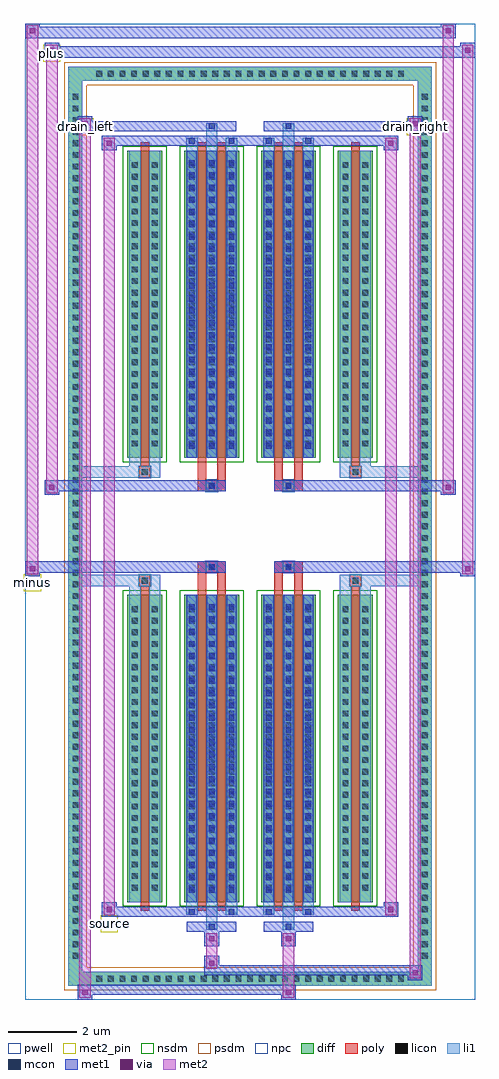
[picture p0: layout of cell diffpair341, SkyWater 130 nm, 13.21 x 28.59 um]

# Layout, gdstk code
import gdstk
lib = gdstk.Library(unit=1e-6, precision=5e-09)
def R(c, l, rs):  # rectangles x0, y0, x1, y1
    for r in rs: c.add(gdstk.rectangle(r[:2], r[2:], *l))
def A(c, l, x, y, w, h, nx, ny, dx, dy):  # array of equal rectangles
    R(c, l, [(x+i*dx, y+j*dy, x+i*dx+w, y+j*dy+h) for i in range(nx) for j in range(ny)])
def P(c, l, *ps):  # polygons
    for p in ps: c.add(gdstk.Polygon(p, *l))
pwell = (64, 44)
diff = (65, 20)
poly = (66, 20)
licon = (66, 44)
li1 = (67, 20)
mcon = (67, 44)
met1 = (68, 20)
via = (68, 44)
met2_pin = (69, 16)
met2 = (69, 20)
nsdm = (93, 44)
psdm = (94, 20)
npc = (95, 20)

diffpair341 = lib.new_cell('diffpair341')
R(diffpair341, pwell, [(-6.59,-13.86,6.59,14.73), (-3.91,-12.05,-0.01,-0.825), (0.01,-12.05,3.91,-0.825), (-3.91,0.825,-0.01,12.05), (0.01,0.825,3.91,12.05)])
A(diffpair341, diff, -4.625, -13.46, 0.41, 0.41, 27, 2, 0.34, 26.51)
A(diffpair341, diff, -5.32, -12.785, 0.41, 0.41, 1, 75, 0, 0.34)
A(diffpair341, diff, 4.91, -12.785, 0.41, 0.41, 1, 75, 0, 0.34)
R(diffpair341, diff, [(-4.625,-13.46,4.625,-13.05), (-5.32,-12.785,-4.91,12.785), (4.91,-12.785,5.32,12.785), (-3.6,-11.005,-2.57,-2.005), (-1.93,-11.005,-0.32,-2.005), (0.32,-11.005,1.93,-2.005), (2.57,-11.005,3.6,-2.005), (-3.6,2.005,-2.57,11.005), (-1.93,2.005,-0.32,11.005), (0.32,2.005,1.93,11.005), (2.57,2.005,3.6,11.005), (-4.625,13.05,4.625,13.46)])
P(diffpair341, diff, [(5.32,13.46),(-5.32,13.46),(-5.32,-13.05),(-4.91,-13.05),(-4.91,13.05),(4.91,13.05),(4.91,-13.05),(-4.91,-13.05),(-5.32,-13.05),(-5.32,-13.46),(5.32,-13.46)])
R(diffpair341, poly, [(-3.21,-11.255,-2.96,-1.755), (-1.54,-11.255,-1.29,-1.755), (-0.96,-11.255,-0.71,-1.755), (0.71,-11.255,0.96,-1.755), (1.29,-11.255,1.54,-1.755), (2.96,-11.255,3.21,-1.755), (-3.25,-1.755,-2.92,-1.425), (-3.25,-1.755,-2.92,-1.425), (-1.54,-1.755,-1.29,-1.355), (-0.96,-1.755,-0.71,-1.355), (0.71,-1.755,0.96,-1.355), (1.29,-1.755,1.54,-1.355), (2.92,-1.755,3.25,-1.425), (2.92,-1.755,3.25,-1.425), (-1.54,-1.355,-0.71,-1.025), (-1.29,-1.355,-0.96,-1.025), (0.71,-1.355,1.54,-1.025), (0.96,-1.355,1.29,-1.025), (-1.54,1.025,-0.71,1.355), (-1.29,1.025,-0.96,1.355), (0.71,1.025,1.54,1.355), (0.96,1.025,1.29,1.355), (-1.54,1.355,-1.29,1.755), (-0.96,1.355,-0.71,1.755), (0.71,1.355,0.96,1.755), (1.29,1.355,1.54,1.755), (-3.25,1.425,-2.92,1.755), (-3.25,1.425,-2.92,1.755), (2.92,1.425,3.25,1.755), (2.92,1.425,3.25,1.755), (-3.21,1.755,-2.96,11.255), (-1.54,1.755,-1.29,11.255), (-0.96,1.755,-0.71,11.255), (0.71,1.755,0.96,11.255), (1.29,1.755,1.54,11.255), (2.96,1.755,3.21,11.255)])
A(diffpair341, licon, -4.505, -13.34, 0.17, 0.17, 27, 2, 0.34, 26.51)
A(diffpair341, licon, -5.2, -12.665, 0.17, 0.17, 1, 75, 0, 0.34)
A(diffpair341, licon, 5.03, -12.665, 0.17, 0.17, 1, 75, 0, 0.34)
A(diffpair341, licon, -3.46, -10.67, 0.17, 0.17, 1, 25, 0, 0.34)
A(diffpair341, licon, -2.88, -10.67, 0.17, 0.17, 1, 25, 0, 0.34)
A(diffpair341, licon, -1.79, -10.67, 0.17, 0.17, 3, 25, 0.58, 0.34)
A(diffpair341, licon, 0.46, -10.67, 0.17, 0.17, 3, 25, 0.58, 0.34)
A(diffpair341, licon, 2.71, -10.67, 0.17, 0.17, 1, 25, 0, 0.34)
A(diffpair341, licon, 3.29, -10.67, 0.17, 0.17, 1, 25, 0, 0.34)
A(diffpair341, licon, -3.46, 2.34, 0.17, 0.17, 1, 25, 0, 0.34)
A(diffpair341, licon, -2.88, 2.34, 0.17, 0.17, 1, 25, 0, 0.34)
A(diffpair341, licon, -1.79, 2.34, 0.17, 0.17, 3, 25, 0.58, 0.34)
A(diffpair341, licon, 0.46, 2.34, 0.17, 0.17, 3, 25, 0.58, 0.34)
A(diffpair341, licon, 2.71, 2.34, 0.17, 0.17, 1, 25, 0, 0.34)
A(diffpair341, licon, 3.29, 2.34, 0.17, 0.17, 1, 25, 0, 0.34)
R(diffpair341, licon, [(-3.17,-1.675,-3,-1.505), (3,-1.675,3.17,-1.505), (-1.21,-1.275,-1.04,-1.105), (1.04,-1.275,1.21,-1.105), (-1.21,1.105,-1.04,1.275), (1.04,1.105,1.21,1.275), (-3.17,1.505,-3,1.675), (3,1.505,3.17,1.675)])
A(diffpair341, li1, -4.585, -13.42, 0.33, 0.33, 27, 2, 0.34, 26.51)
A(diffpair341, li1, -5.28, -12.745, 0.33, 0.33, 1, 75, 0, 0.34)
A(diffpair341, li1, 4.95, -12.745, 0.33, 0.33, 1, 75, 0, 0.34)
A(diffpair341, li1, -1.87, -11.005, 0.33, 9, 3, 2, 0.58, 13.01)
A(diffpair341, li1, 0.38, -11.005, 0.33, 9, 3, 2, 0.58, 13.01)
A(diffpair341, li1, -3.54, -10.75, 0.33, 0.33, 1, 25, 0, 0.34)
A(diffpair341, li1, -2.96, -10.75, 0.33, 0.33, 1, 25, 0, 0.34)
A(diffpair341, li1, -1.87, -10.75, 0.33, 0.33, 3, 25, 0.58, 0.34)
A(diffpair341, li1, 0.38, -10.75, 0.33, 0.33, 3, 25, 0.58, 0.34)
A(diffpair341, li1, 2.63, -10.75, 0.33, 0.33, 1, 25, 0, 0.34)
A(diffpair341, li1, 3.21, -10.75, 0.33, 0.33, 1, 25, 0, 0.34)
A(diffpair341, li1, -1.79, -10.73, 0.17, 0.17, 3, 24, 0.58, 0.36)
A(diffpair341, li1, -1.79, -10.73, 0.17, 8.45, 3, 2, 0.58, 13.01)
A(diffpair341, li1, 0.46, -10.73, 0.17, 0.17, 3, 24, 0.58, 0.36)
A(diffpair341, li1, 0.46, -10.73, 0.17, 8.45, 3, 2, 0.58, 13.01)
A(diffpair341, li1, -3.54, 2.26, 0.33, 0.33, 1, 25, 0, 0.34)
A(diffpair341, li1, -2.96, 2.26, 0.33, 0.33, 1, 25, 0, 0.34)
A(diffpair341, li1, -1.87, 2.26, 0.33, 0.33, 3, 25, 0.58, 0.34)
A(diffpair341, li1, 0.38, 2.26, 0.33, 0.33, 3, 25, 0.58, 0.34)
A(diffpair341, li1, 2.63, 2.26, 0.33, 0.33, 1, 25, 0, 0.34)
A(diffpair341, li1, 3.21, 2.26, 0.33, 0.33, 1, 25, 0, 0.34)
A(diffpair341, li1, -1.79, 2.28, 0.17, 0.17, 3, 24, 0.58, 0.36)
A(diffpair341, li1, 0.46, 2.28, 0.17, 0.17, 3, 24, 0.58, 0.36)
R(diffpair341, li1, [(-5.32,-13.46,-4.91,-13.05), (-5.32,-13.46,-4.91,-13.05), (-4.91,-13.46,4.91,-13.05), (4.91,-13.46,5.32,-13.05), (4.91,-13.46,5.32,-13.05), (-5.32,-13.05,-4.91,13.05), (4.91,-13.05,5.32,13.05), (-1.29,-11.81,-0.96,-11.005), (-1.21,-11.81,-1.04,-11.64), (0.96,-11.81,1.29,-11.005), (1.04,-11.81,1.21,-11.64), (-1.87,-11.38,-1.54,-11.005), (-1.79,-11.38,-1.62,-11.21), (-0.71,-11.38,-0.38,-11.005), (-0.63,-11.38,-0.46,-11.21), (0.38,-11.38,0.71,-11.005), (0.46,-11.38,0.63,-11.21), (1.54,-11.38,1.87,-11.005), (1.62,-11.38,1.79,-11.21), (-3.54,-11.005,-3.21,-2.005), (-2.96,-11.005,-2.63,-2.005), (2.63,-11.005,2.96,-2.005), (3.21,-11.005,3.54,-2.005), (-3.54,-2.005,-3.21,-1.425), (-2.96,-2.005,-2.63,-1.425), (2.63,-2.005,2.96,-1.425), (3.21,-2.005,3.54,-1.425), (-5.32,-1.755,-3.25,-1.425), (-3.54,-1.755,-3.25,-1.425), (-3.25,-1.755,-2.92,-1.425), (-2.92,-1.755,-2.63,-1.425), (2.63,-1.755,2.92,-1.425), (2.92,-1.755,3.25,-1.425), (2.92,-1.755,5.32,-1.425), (3.25,-1.755,3.54,-1.425), (-1.29,-1.355,-0.96,-1.025), (0.96,-1.355,1.29,-1.025), (-1.29,1.025,-0.96,1.355), (0.96,1.025,1.29,1.355), (-5.32,1.425,-3.25,1.755), (-3.54,1.425,-3.25,1.755), (-3.54,1.425,-3.21,2.005), (-3.25,1.425,-2.92,1.755), (-2.96,1.425,-2.63,2.005), (-2.92,1.425,-2.63,1.755), (2.63,1.425,2.92,1.755), (2.63,1.425,2.96,2.005), (2.92,1.425,3.25,1.755), (2.92,1.425,5.32,1.755), (3.21,1.425,3.54,2.005), (3.25,1.425,3.54,1.755), (-3.54,2.005,-3.21,11.005), (-2.96,2.005,-2.63,11.005), (2.63,2.005,2.96,11.005), (3.21,2.005,3.54,11.005), (-1.87,11.005,-1.54,11.38), (-1.29,11.005,-0.96,11.81), (-0.71,11.005,-0.38,11.38), (0.38,11.005,0.71,11.38), (0.96,11.005,1.29,11.81), (1.54,11.005,1.87,11.38), (-1.79,11.21,-1.62,11.38), (-0.63,11.21,-0.46,11.38), (0.46,11.21,0.63,11.38), (1.62,11.21,1.79,11.38), (-1.21,11.64,-1.04,11.81), (1.04,11.64,1.21,11.81), (-5.32,13.05,-4.91,13.46), (-5.32,13.05,-4.91,13.46), (-4.91,13.05,4.91,13.46), (4.91,13.05,5.32,13.46), (4.91,13.05,5.32,13.46)])
A(diffpair341, mcon, -1.79, -10.73, 0.17, 0.17, 3, 24, 0.58, 0.36)
A(diffpair341, mcon, 0.46, -10.73, 0.17, 0.17, 3, 24, 0.58, 0.36)
A(diffpair341, mcon, -1.79, 2.28, 0.17, 0.17, 3, 24, 0.58, 0.36)
A(diffpair341, mcon, 0.46, 2.28, 0.17, 0.17, 3, 24, 0.58, 0.36)
R(diffpair341, mcon, [(-1.21,-11.81,-1.04,-11.64), (1.04,-11.81,1.21,-11.64), (-1.79,-11.38,-1.62,-11.21), (-0.63,-11.38,-0.46,-11.21), (0.46,-11.38,0.63,-11.21), (1.62,-11.38,1.79,-11.21), (-1.21,-1.275,-1.04,-1.105), (1.04,-1.275,1.21,-1.105), (-1.21,1.105,-1.04,1.275), (1.04,1.105,1.21,1.275), (-1.79,11.21,-1.62,11.38), (-0.63,11.21,-0.46,11.38), (0.46,11.21,0.63,11.38), (1.62,11.21,1.79,11.38), (-1.21,11.64,-1.04,11.81), (1.04,11.64,1.21,11.81)])
A(diffpair341, met1, -1.85, -11.005, 0.29, 9, 3, 2, 0.58, 13.01)
A(diffpair341, met1, 0.4, -11.005, 0.29, 9, 3, 2, 0.58, 13.01)
A(diffpair341, met1, -1.85, -10.79, 0.29, 0.29, 3, 24, 0.58, 0.36)
A(diffpair341, met1, 0.4, -10.79, 0.29, 0.29, 3, 24, 0.58, 0.36)
A(diffpair341, met1, -1.85, 2.22, 0.29, 0.29, 3, 24, 0.58, 0.36)
A(diffpair341, met1, 0.4, 2.22, 0.29, 0.29, 3, 24, 0.58, 0.36)
R(diffpair341, met1, [(-5.05,-13.86,-4.62,-13.43), (0.91,-13.86,1.34,-13.43), (-5.05,-13.72,1.34,-13.43), (4.62,-13.29,5.05,-12.86), (-1.34,-13.15,5.05,-12.86), (-1.34,-13.01,-0.91,-12.58), (-1.34,-12.3,-0.91,-11.87), (0.91,-12.3,1.34,-11.87), (-1.85,-11.87,-0.4,-11.58), (-1.27,-11.87,-0.98,-11.58), (0.4,-11.87,1.85,-11.58), (0.98,-11.87,1.27,-11.58), (-4.34,-11.44,-3.91,-11.01), (-4.34,-11.44,-1.85,-11.15), (-1.85,-11.44,-1.56,-11.15), (-1.85,-11.44,-0.4,-11.15), (-0.69,-11.44,-0.4,-11.15), (-0.4,-11.44,0.4,-11.15), (0.4,-11.44,0.69,-11.15), (0.4,-11.44,1.85,-11.15), (1.56,-11.44,1.85,-11.15), (1.85,-11.44,4.34,-11.15), (3.91,-11.44,4.34,-11.01), (-6.59,-1.455,-6.16,-1.025), (6.16,-1.455,6.59,-1.025), (-6.59,-1.355,-0.71,-1.025), (-1.54,-1.355,-0.71,-1.025), (0.71,-1.355,1.54,-1.025), (0.71,-1.355,6.59,-1.025), (-1.27,-1.335,-0.98,-1.045), (0.98,-1.335,1.27,-1.045), (-6.02,0.925,-5.59,1.355), (5.59,0.925,6.02,1.355), (-6.02,1.025,-1.54,1.355), (-1.54,1.025,-0.71,1.355), (0.71,1.025,1.54,1.355), (1.54,1.025,6.02,1.355), (-1.27,1.045,-0.98,1.335), (0.98,1.045,1.27,1.335), (-4.34,11.01,-3.91,11.44), (3.91,11.01,4.34,11.44), (-4.34,11.15,-1.85,11.44), (-1.85,11.15,-1.56,11.44), (-1.85,11.15,-0.4,11.44), (-0.69,11.15,-0.4,11.44), (-0.4,11.15,0.4,11.44), (0.4,11.15,0.69,11.44), (0.4,11.15,1.85,11.44), (1.56,11.15,1.85,11.44), (1.85,11.15,4.34,11.44), (-5.05,11.58,-4.62,12.01), (-5.05,11.58,-1.85,11.87), (-1.85,11.58,-0.4,11.87), (-1.27,11.58,-0.98,11.87), (0.4,11.58,1.85,11.87), (0.98,11.58,1.27,11.87), (1.85,11.58,5.05,11.87), (4.62,11.58,5.05,12.01), (-6.02,13.73,-5.59,14.16), (-6.02,13.73,-3.91,14.06), (-3.91,13.73,3.91,14.06), (3.91,13.73,6.59,14.06), (6.16,13.73,6.59,14.16), (-6.59,14.3,-6.16,14.73), (-6.59,14.3,-3.91,14.63), (-3.91,14.3,3.91,14.63), (3.91,14.3,6.02,14.63), (5.59,14.3,6.02,14.73)])
R(diffpair341, via, [(-4.91,-13.72,-4.76,-13.57), (1.05,-13.72,1.2,-13.57), (4.76,-13.15,4.91,-13), (-1.2,-12.87,-1.05,-12.72), (-1.2,-12.16,-1.05,-12.01), (1.05,-12.16,1.2,-12.01), (-4.2,-11.3,-4.05,-11.15), (4.05,-11.3,4.2,-11.15), (-6.45,-1.315,-6.3,-1.165), (6.3,-1.315,6.45,-1.165), (-5.88,1.065,-5.73,1.215), (5.73,1.065,5.88,1.215), (-4.2,11.15,-4.05,11.3), (4.05,11.15,4.2,11.3), (-4.91,11.72,-4.76,11.87), (4.76,11.72,4.91,11.87), (-5.88,13.87,-5.73,14.02), (6.3,13.87,6.45,14.02), (-6.45,14.44,-6.3,14.59), (5.73,14.44,5.88,14.59)])
R(diffpair341, met2_pin, [(-4.375,-11.89,-3.875,-11.39), (-6.625,-1.905,-6.125,-1.405), (-5.085,11.46,-4.585,11.96), (4.585,11.46,5.085,11.96), (-6.055,13.61,-5.555,14.11)])
R(diffpair341, met2, [(-5,-13.81,-4.67,-13.48), (-5,-13.81,-4.67,11.96), (0.96,-13.81,1.29,-13.48), (0.96,-13.48,1.29,-12.25), (4.67,-13.24,5,-12.91), (4.67,-13.24,5,11.96), (-1.29,-12.96,-0.96,-12.63), (-1.29,-12.63,-0.96,-12.25), (-1.29,-12.25,-0.96,-11.92), (0.96,-12.25,1.29,-11.92), (-4.29,-11.39,-3.96,-11.06), (-4.29,-11.39,-3.96,11.39), (3.96,-11.39,4.29,-11.06), (3.96,-11.39,4.29,11.39), (-6.54,-1.405,-6.21,-1.075), (-6.54,-1.405,-6.21,14.68), (6.21,-1.405,6.54,-1.075), (6.21,-1.405,6.54,14.11), (-5.97,0.975,-5.64,1.305), (-5.97,0.975,-5.64,14.11), (5.64,0.975,5.97,1.305), (5.64,0.975,5.97,14.68), (-4.29,11.06,-3.96,11.39), (3.96,11.06,4.29,11.39), (-5,11.63,-4.67,11.96), (4.67,11.63,5,11.96), (-5.97,13.78,-5.64,14.11), (6.21,13.78,6.54,14.11), (-6.54,14.35,-6.21,14.68), (5.64,14.35,5.97,14.68)])
P(diffpair341, met2, [(6.54,-1.405),(6.54,-1.405),(6.54,-1.075),(6.54,-1.075)],
  [(6.54,13.78),(6.54,13.78),(6.54,14.11),(6.54,14.11)],
  [(-6.21,-1.405),(-6.21,-1.405),(-6.21,-1.075),(-6.21,-1.075)],
  [(-6.21,14.35),(-6.21,14.35),(-6.21,14.68),(-6.21,14.68)],
  [(5.97,0.975),(5.97,0.975),(5.97,1.305),(5.97,1.305)],
  [(5.97,14.35),(5.97,14.35),(5.97,14.68),(5.97,14.68)],
  [(-5.64,0.975),(-5.64,0.975),(-5.64,1.305),(-5.64,1.305)],
  [(-5.64,13.78),(-5.64,13.78),(-5.64,14.11),(-5.64,14.11)],
  [(-4.67,-13.81),(-4.67,-13.81),(-4.67,-13.48),(-4.67,-13.48)],
  [(-4.67,11.63),(-4.67,11.63),(-4.67,11.96),(-4.67,11.96)],
  [(5,-13.24),(5,-13.24),(5,-12.91),(5,-12.91)],
  [(5,11.63),(5,11.63),(5,11.96),(5,11.96)],
  [(-3.96,-11.39),(-3.96,-11.39),(-3.96,-11.06),(-3.96,-11.06)],
  [(-3.96,11.06),(-3.96,11.06),(-3.96,11.39),(-3.96,11.39)],
  [(4.29,-11.39),(4.29,-11.39),(4.29,-11.06),(4.29,-11.06)],
  [(4.29,11.06),(4.29,11.06),(4.29,11.39),(4.29,11.39)])
R(diffpair341, nsdm, [(-3.73,-11.135,-2.44,-1.875), (-2.06,-11.135,-0.19,-1.875), (0.19,-11.135,2.06,-1.875), (2.44,-11.135,3.73,-1.875), (-3.73,1.875,-2.44,11.135), (-2.06,1.875,-0.19,11.135), (0.19,1.875,2.06,11.135), (2.44,1.875,3.73,11.135)])
P(diffpair341, psdm, [(5.45,13.59),(-5.45,13.59),(-5.45,-12.92),(-4.78,-12.92),(-4.78,12.92),(4.78,12.92),(4.78,-12.92),(-4.78,-12.92),(-5.45,-12.92),(-5.45,-13.59),(5.45,-13.59)])
R(diffpair341, npc, [(-3.27,-1.775,-2.9,-1.405), (2.9,-1.775,3.27,-1.405), (-1.31,-1.375,-0.94,-1.005), (0.94,-1.375,1.31,-1.005), (-1.31,1.005,-0.94,1.375), (0.94,1.005,1.31,1.375), (-3.27,1.405,-2.9,1.775), (2.9,1.405,3.27,1.775)])
diffpair341.add(gdstk.Label('minus', (-6.375,-1.655), layer=69, texttype=5))
diffpair341.add(gdstk.Label('drain_right', (4.835,11.71), layer=69, texttype=5))
diffpair341.add(gdstk.Label('drain_left', (-4.835,11.71), layer=69, texttype=5))
diffpair341.add(gdstk.Label('source', (-4.125,-11.64), layer=69, texttype=5))
diffpair341.add(gdstk.Label('plus', (-5.805,13.86), layer=69, texttype=5))

lib.write_gds('diffpair341.gds')
